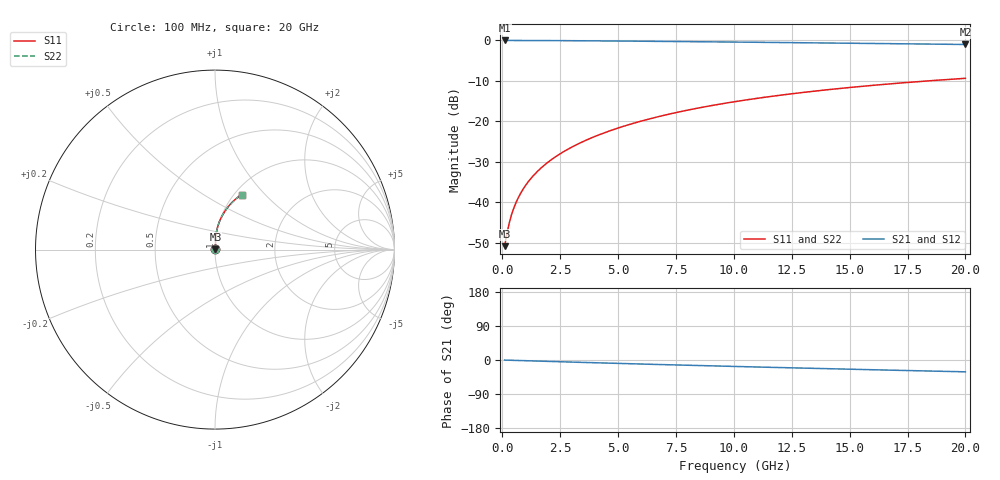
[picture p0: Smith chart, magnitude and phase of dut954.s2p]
! Touchstone file exported from HFSS 2024.1.0
!  File:  C:/UserFiles/LocalFiles/RDL_TSV_Batchsim/temp_RDL_top_954_1779938166.aedt
!  Generated:  11:18:37 AM May 28, 2026
!  Design:  RDL_top
!  Project:  temp_RDL_top_954_1779938166
!  Setup:  Setup1
!  Solution:  Sweep
! Variables:
!  dtsv = 10.80580581um
!  hbump = 3um
!  htsv = 51.34um
!  ldown = 100um
!  lrdl = 384.43um
!  p = 40
!  p1 = 59.96um
!  rhole = 1um
!  t = 450um
!  tdown = 3.915915916um
!  trdl = 2.86um
!  wdown = 15.38538539um
!  wrdl = 22.87um
# GHz S MA R 50.000000
! Terminal data exported
! Port[1] = Box2_T1
! Port[2] = Box2_T2
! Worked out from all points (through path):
!   200 points, 100 MHz to 20 GHz, reference 50 ohm
!   highest |S21| = -0.02 dB at 100 MHz (marker M1); lowest = -1.0 dB at 20 GHz (marker M2)
!   group delay of S21, straight-line fit = 4.29 ps
!   lowest |S11| = -50.8 dB at 100 MHz (marker M3), VSWR 1.01, Z = 50.2 + j0.17 ohm
!   |S11| at or under -10 dB: start of sweep to 18.38 GHz
!   |S22| runs from -50.8 to -9.4 dB; largest |S21 - S12| = 3.1e-15
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0.1  0.002891 35.9  0.9977 -0.2  0.9977 -0.2  0.002891 35.9
! Gamma 0 0 0 0
! Port Impedance 50 0 50 0
0.2  0.004138 54.3  0.9976 -0.4  0.9976 -0.4  0.004138 54.3
0.3  0.005582 63.3  0.9974 -0.6  0.9974 -0.6  0.005582 63.3
0.4  0.007072 68.5  0.9973 -0.8  0.9973 -0.8  0.007072 68.5
0.5  0.008573 71.8  0.9971 -1.0  0.9971 -1.0  0.008573 71.8
0.6  0.01008 74.3  0.997 -1.1  0.997 -1.1  0.01008 74.3
0.8  0.0131 77.6  0.9967 -1.5  0.9967 -1.5  0.0131 77.6
1.1  0.01768 80.6  0.9962 -2.1  0.9962 -2.1  0.01768 80.6
1.5  0.0239 83.0  0.9954 -2.8  0.9954 -2.8  0.0239 83.0
1.8  0.02864 84.1  0.9947 -3.3  0.9947 -3.3  0.02864 84.1
2.1  0.03343 84.9  0.9939 -3.9  0.9939 -3.9  0.03343 84.9
2.7  0.04322 85.8  0.9919 -5.0  0.9919 -5.0  0.04322 85.8
3.5  0.05665 86.3  0.9888 -6.4  0.9888 -6.4  0.05665 86.3
4.2  0.06874 86.3  0.9857 -7.6  0.9857 -7.6  0.06874 86.3
5  0.08289 85.9  0.9818 -9.0  0.9818 -9.0  0.08289 85.9
5.9  0.09914 85.2  0.9771 -10.5  0.9771 -10.5  0.09914 85.2
6.8  0.1156 84.2  0.9721 -12.0  0.9721 -12.0  0.1156 84.2
8.4  0.1451 82.0  0.9629 -14.5  0.9629 -14.5  0.1451 82.0
10.1  0.1764 79.5  0.9529 -17.1  0.9529 -17.1  0.1763 79.5
13.4  0.235 74.2  0.9327 -22.0  0.9327 -22.0  0.235 74.2
16.7  0.2899 69.1  0.9116 -26.7  0.9116 -26.7  0.2899 69.1
20  0.3405 64.2  0.8898 -31.2  0.8898 -31.2  0.3404 64.2
